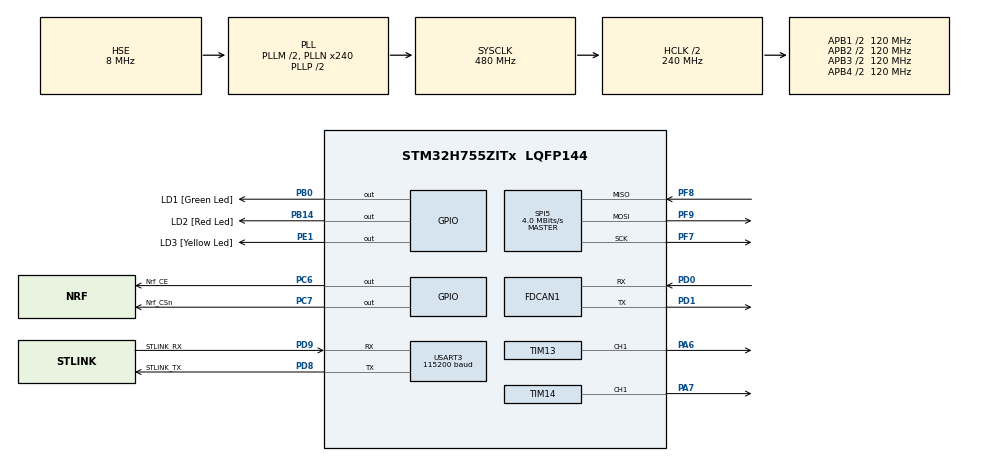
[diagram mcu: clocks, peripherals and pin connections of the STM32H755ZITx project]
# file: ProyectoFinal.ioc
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CortexM4.IPs=BDMA,CORTEX_M4\:I,DEBUG,DMA,FATFS_M4\:I,FREERTOS_M4\:I,GPIO,IWDG2\:I,MDMA,NVIC2\:I,OPENAMP_M4\:I,PDM2PCM_M4\:I,PWR,RCC,RESMGR_UTILITY,SYS_M4\:I,USB_DEVICE_M4\:I,USB_HOST_M4\:I,VREFBUF,WWDG2\:I
CortexM4.Pins=PE1
CortexM7.IPs=BDMA\:I,CORTEX_M7\:I,DEBUG\:I,DMA\:I,FATFS_M7\:I,FREERTOS_M7\:I,GPIO\:I,IWDG1\:I,MDMA\:I,NVIC1\:I,OPENAMP_M7\:I,PDM2PCM_M7\:I,PWR\:I,RCC\:I,RESMGR_UTILITY\:I,SYS\:I,USB_DEVICE_M7\:I,USB_HOST_M7\:I,VREFBUF\:I,WWDG1\:I,USART3\:I,TIM14\:I,TIM13\:I,TIM15\:I,SPI5\:I,FDCAN1\:I
CortexM7.Pins=PB0,PB14,PC6,PC7
FDCAN1.CalculateBaudRateNominal=500000
FDCAN1.CalculateTimeBitNominal=2000
FDCAN1.CalculateTimeQuantumNominal=50.0
FDCAN1.NominalPrescaler=2
FDCAN1.NominalSyncJumpWidth=8
FDCAN1.NominalTimeSeg1=0x1F
FDCAN1.NominalTimeSeg2=8
FDCAN1.ProtocolException=ENABLE
FDCAN1.RxFifo0ElmtsNbr=1
FDCAN1.StdFiltersNbr=1
FDCAN1.TxFifoQueueElmtsNbr=1
Mcu.Family=STM32H7
Mcu.Name=STM32H755ZITx
Mcu.Package=LQFP144
NVIC1.PriorityGroup=NVIC_PRIORITYGROUP_4
NVIC1.TIM15_IRQn=true\:0\:0\:false\:false\:true\:true\:true\:true
NVIC2.PriorityGroup=NVIC_PRIORITYGROUP_4
PA13\ (JTMS/SWDIO).GPIO_Label=DEBUG_SWDIO
PA13\ (JTMS/SWDIO).Mode=Serial_Wire
PA13\ (JTMS/SWDIO).PinAttribute=CortexM7
PA13\ (JTMS/SWDIO).Signal=DEBUG_JTMS-SWDIO
PA14\ (JTCK/SWCLK).GPIO_Label=DEBUG_SWCLK
PA14\ (JTCK/SWCLK).Mode=Serial_Wire
PA14\ (JTCK/SWCLK).PinAttribute=CortexM7
PA14\ (JTCK/SWCLK).Signal=DEBUG_JTCK-SWCLK
PA6.PinAttribute=CortexM7
PA6.Signal=S_TIM13_CH1
PA7.PinAttribute=CortexM7
PA7.Signal=S_TIM14_CH1
PB0.GPIO_Label=LD1 [Green Led]
PB0.PinAttribute=CortexM7
PB0.Signal=GPIO_Output
PB14.GPIO_Label=LD2 [Red Led]
PB14.PinAttribute=CortexM7
PB14.Signal=GPIO_Output
PC14-OSC32_IN\ (OSC32_IN).Mode=LSE-External-Oscillator
PC14-OSC32_IN\ (OSC32_IN).PinAttribute=CortexM7
PC14-OSC32_IN\ (OSC32_IN).Signal=RCC_OSC32_IN
PC15-OSC32_OUT\ (OSC32_OUT).Mode=LSE-External-Oscillator
PC15-OSC32_OUT\ (OSC32_OUT).PinAttribute=CortexM7
PC15-OSC32_OUT\ (OSC32_OUT).Signal=RCC_OSC32_OUT
PC6.GPIO_Label=Nrf_CE
PC6.PinAttribute=CortexM7
PC6.Signal=GPIO_Output
PC7.GPIO_Label=Nrf_CSn
PC7.PinAttribute=CortexM7
PC7.Signal=GPIO_Output
PD0.GPIO_PuPd=GPIO_NOPULL
PD0.GPIO_Speed=GPIO_SPEED_FREQ_VERY_HIGH
PD0.Mode=FDCAN_Activate
PD0.PinAttribute=CortexM7
PD0.Signal=FDCAN1_RX
PD1.GPIO_PuPd=GPIO_PULLUP
PD1.GPIO_Speed=GPIO_SPEED_FREQ_VERY_HIGH
PD1.Mode=FDCAN_Activate
PD1.PinAttribute=CortexM7
PD1.Signal=FDCAN1_TX
PD8.GPIO_Label=STLINK_TX
PD8.Mode=Asynchronous
PD8.PinAttribute=CortexM7
PD8.Signal=USART3_TX
PD9.GPIO_Label=STLINK_RX
PD9.Mode=Asynchronous
PD9.PinAttribute=CortexM7
PD9.Signal=USART3_RX
PE1.GPIO_Label=LD3 [Yellow Led]
PE1.PinAttribute=CortexM4
PE1.Signal=GPIO_Output
PF7.Mode=Full_Duplex_Master
PF7.PinAttribute=CortexM7
PF7.Signal=SPI5_SCK
PF8.Mode=Full_Duplex_Master
PF8.PinAttribute=CortexM7
PF8.Signal=SPI5_MISO
PF9.Mode=Full_Duplex_Master
PF9.PinAttribute=CortexM7
PF9.Signal=SPI5_MOSI
PH0-OSC_IN\ (PH0).Mode=HSE-External-Clock-Source
PH0-OSC_IN\ (PH0).PinAttribute=CortexM7
PH0-OSC_IN\ (PH0).Signal=RCC_OSC_IN
ProjectManager.HeapSize=M4-0x200,M7-0x200
ProjectManager.StackSize=M4-0x400,M7-0x400
ProjectManager.TargetToolchain=STM32CubeIDE
RCC.ADCFreq_Value=16125000
RCC.APB1Freq_Value=120000000
RCC.APB2Freq_Value=120000000
RCC.APB3Freq_Value=120000000
RCC.APB4Freq_Value=120000000
RCC.CortexFreq_Value=480000000
RCC.D1PPRE=RCC_APB3_DIV2
RCC.D2PPRE1=RCC_APB1_DIV2
RCC.D2PPRE2=RCC_APB2_DIV2
RCC.D3PPRE=RCC_APB4_DIV2
RCC.DIVM1=2
RCC.DIVN1=240
RCC.DIVQ1=24
RCC.HCLKFreq_Value=240000000
RCC.HPRE=RCC_HCLK_DIV2
RCC.HSE_VALUE=8000000
RCC.PLLSourceVirtual=RCC_PLLSOURCE_HSE
RCC.SYSCLKFreq_VALUE=480000000
RCC.SYSCLKSource=RCC_SYSCLKSOURCE_PLLCLK
RCC.Spi45ClockSelection=RCC_SPI45CLKSOURCE_HSI
RCC.USBFreq_Value=40000000
SH.S_TIM13_CH1.0=TIM13_CH1,PWM Generation1 CH1
SH.S_TIM14_CH1.0=TIM14_CH1,PWM Generation1 CH1
SPI5.BaudRatePrescaler=SPI_BAUDRATEPRESCALER_16
SPI5.CalculateBaudRate=4.0 MBits/s
SPI5.DataSize=SPI_DATASIZE_8BIT
SPI5.Direction=SPI_DIRECTION_2LINES
SPI5.Mode=SPI_MODE_MASTER
SPI5.VirtualType=VM_MASTER
SYS.userName=SYS_M7
TIM13.AutoReloadPreload=TIM_AUTORELOAD_PRELOAD_ENABLE
TIM13.Channel=TIM_CHANNEL_1
TIM13.Period=19999
TIM13.Prescaler=239
TIM13.Pulse=1500
TIM14.AutoReloadPreload=TIM_AUTORELOAD_PRELOAD_DISABLE
TIM14.Channel=TIM_CHANNEL_1
TIM14.Period=19999
TIM14.Prescaler=239
TIM14.Pulse=1500
TIM15.Period=9999
TIM15.Prescaler=23
USART3.BaudRate=115200
USART3.VirtualMode-Asynchronous=VM_ASYNC
VP_SYS_M4_VS_Systick.Mode=SysTick
VP_TIM13_VS_ClockSourceINT.Mode=Enable_Timer
VP_TIM14_VS_ClockSourceINT.Mode=Enable_Timer
VP_TIM15_VS_ClockSourceINT.Mode=Internal
board=custom

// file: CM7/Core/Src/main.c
/* USER CODE BEGIN Header */
/**
  ******************************************************************************
  * @file           : main.c
  * @brief          : Main program body for CM7
  * @author			: Alejandro Rodriguez del Bosque
  ******************************************************************************
  * @attention
  *
  * Copyright (c) 2024 STMicroelectronics.
  * All rights reserved.
  *
  * This software is licensed under terms that can be found in the LICENSE file
  * in the root directory of this software component.
  * If no LICENSE file comes with this software, it is provided AS-IS.
  *
  ******************************************************************************
  */
/* USER CODE END Header */
#include "main.h"

/* USER CODE BEGIN Includes */
#include <stdio.h>
#include "myprintf.h"
#include <string.h>
#include "MY_NRF24.h"
#include "MotorController.h"
/* USER CODE END Includes */

/* USER CODE BEGIN PD */

#ifndef HSEM_ID_0
#define HSEM_ID_0 (0U) /* HW semaphore 0*/
#endif
/* USER CODE END PD */

FDCAN_HandleTypeDef hfdcan1;

SPI_HandleTypeDef hspi5;

TIM_HandleTypeDef htim13;
TIM_HandleTypeDef htim14;
TIM_HandleTypeDef htim15;

UART_HandleTypeDef huart3;

/* USER CODE BEGIN PV */
// CAN
FDCAN_FilterTypeDef sFilterConfig;
FDCAN_TxHeaderTypeDef TxHeader;
FDCAN_RxHeaderTypeDef RxHeader;
uint8_t TxDataCAN[8] = {0};
uint8_t RxDataCAN[8];
uint8_t buzzer = 0; // Estado del buzzer

/* USER CODE END PV */

void SystemClock_Config(void);
static void MX_GPIO_Init(void);
static void MX_USART3_UART_Init(void);
static void MX_TIM14_Init(void);
static void MX_TIM13_Init(void);
static void MX_TIM15_Init(void);
static void MX_SPI5_Init(void);
static void MX_FDCAN1_Init(void);
/* USER CODE BEGIN PFP */
static void MotorSetSpeed(float);
static void Turning_SetAngle(float);

// Configuración y manejo del protocolo CAN
void ProcessCANMessage(void);
void SendCANMessage(void);

/* USER CODE END PFP */

/* USER CODE BEGIN 0 */
uint64_t RxpipeAddrs = 0x11223344AALL;
char myRxData[50];
uint8_t buffer[6];
uint16_t varX, varY, varD;
char myAckPayload[32] = "Ack by STMF7!";
float setpoint=0.5f;
float rotation;
float accel_IMU;
float accel_ENC;

enum CurrentState {
	GoingTo60,
	Turning,
	HeadingBack,
	Finished
};
void avanzar(){
	__HAL_TIM_SET_COMPARE(&htim14,TIM_CHANNEL_1,(uint32_t)(19999 * 0.05));
	printf("Avanzando");
}

void ProcessCANMessage() {
    if (HAL_FDCAN_GetRxMessage(&hfdcan1, FDCAN_RX_FIFO0, &RxHeader, RxDataCAN) == HAL_OK) {
        printf("\n\rSTM32 - Mensaje CAN recibido:\n\r");
        printf("ID: 0x%lx, Longitud: %ld bytes\n\r", RxHeader.Identifier, RxHeader.DataLength >> 16);
        printf("Datos: ");

        if (RxHeader.Identifier == 0x100) {
            printf("\n\rMensaje recibido de Arduino: ");
        }
        for (uint8_t i = 0; i < 8; i++) {
            printf("%02X ", RxDataCAN[i]);
        }

        if (RxDataCAN[0]==0x01){
        	buzzer = 1;
        }else{
        	buzzer = 0;
        }

        printf("\n\rSTM32 - Mensaje recibido correctamente.\n\r");

        HAL_GPIO_TogglePin(LD1_GPIO_Port, LD1_Pin); // Indicar recepción
    } else {
        printf("Esperando mensajes CAN...\n\r");
    }
}

void SendCANMessage(){}

/* USER CODE END 0 */

int main(void)
{
  /* USER CODE BEGIN 1 */
	printf("Entered main");
  /* USER CODE END 1 */
/* USER CODE BEGIN Boot_Mode_Sequence_0 */
  int32_t timeout;
/* USER CODE END Boot_Mode_Sequence_0 */

/* USER CODE BEGIN Boot_Mode_Sequence_1 */
  /* Wait until CPU2 boots and enters in stop mode or timeout*/
  timeout = 0xFFFF;
  while((__HAL_RCC_GET_FLAG(RCC_FLAG_D2CKRDY) != RESET) && (timeout-- > 0));
  if ( timeout < 0 )
  {
  Error_Handler();
  }
/* USER CODE END Boot_Mode_Sequence_1 */
  /* MCU Configuration--------------------------------------------------------*/

  /* Reset of all peripherals, Initializes the Flash interface and the Systick. */
  HAL_Init();

  /* Configure the system clock */
  SystemClock_Config();
/* USER CODE BEGIN Boot_Mode_Sequence_2 */
/* When system initialization is finished, Cortex-M7 will release Cortex-M4 by means of
HSEM notification */
/*HW semaphore Clock enable*/
__HAL_RCC_HSEM_CLK_ENABLE();
/*Take HSEM */
HAL_HSEM_FastTake(HSEM_ID_0);
/*Release HSEM in order to notify the CPU2(CM4)*/
HAL_HSEM_Release(HSEM_ID_0,0);
/* wait until CPU2 wakes up from stop mode */
timeout = 0xFFFF;
while((__HAL_RCC_GET_FLAG(RCC_FLAG_D2CKRDY) == RESET) && (timeout-- > 0));
if ( timeout < 0 )
{
Error_Handler();
}
/* USER CODE END Boot_Mode_Sequence_2 */

  /* Initialize all configured peripherals */
  MX_GPIO_Init();
  MX_USART3_UART_Init();
  MX_TIM14_Init();
  MX_TIM13_Init();
  MX_TIM15_Init();
  MX_SPI5_Init();
  MX_FDCAN1_Init();
  /* USER CODE BEGIN 2 */
  enum CurrentState state = GoingTo60;
  NRF24_begin(GPIOC, Nrf_CSn_Pin, Nrf_CE_Pin, hspi5);
    nrf24_DebugUART_Init(huart3);
    NRF24_openReadingPipe(1, RxpipeAddrs);
    NRF24_setAutoAck(false);
    NRF24_setChannel(52);
    NRF24_setPayloadSize(32);
    NRF24_setDataRate(RF24_2MBPS);

    NRF24_enableDynamicPayloads();
    NRF24_enableAckPayload();
    printRadioSettings();
    NRF24_startListening();
    printf("Starting NRF24\r\n");
    HAL_Delay(1000);
  /* USER CODE END 2 */

  /* Infinite loop */
  /* USER CODE BEGIN WHILE */
    HAL_TIM_PWM_Start(&htim13, TIM_CHANNEL_1);
    HAL_TIM_PWM_Start(&htim14, TIM_CHANNEL_1);
  while (1)
  {
	  //ProcessCANMessage();
	 	  char myRxData[50] = "";

	       // Verifica si hay datos disponibles desde el módulo NRF
	       if (NRF24_available()) {
	           NRF24_read(buffer, 6);  // Lee 6 bytes del buffer
	           parseMessage(buffer, &varX, &varY, &varD);  // Parsea mensaje para obtener varX, varY, varD

	           if (buffer[0] == 0xFF && buffer[1] == 0xFF) {
	               snprintf(myRxData, 32, "Coordinates not found\r\n");
	           } else {
	               snprintf(myRxData, 32, "%u %u %u \r\n", varX, varY, varD);

	               // Controla el duty cycle del motor en función de varY
	           }

	           // Envía una carga útil de respuesta al módulo NRF
	           NRF24_writeAckPayload(1, myAckPayload, 32);

	           // Transmite los datos recibidos a través de UART
	           HAL_UART_Transmit(&huart3, (uint8_t *)myRxData, strlen(myRxData), 10);
	       }

      if(state == GoingTo60){
    	  printf("GoingTo60");
    	  Turning_SetAngle(0);
    	  MotorSetSpeed(0.5f);
    	  if(varX > 60){
    		  state = Turning;
    	  }
      }
      else if(state == Turning){
    	  printf("Turning");
    	  Turning_SetAngle(45.0f);
    	  MotorSetSpeed(0.5f);
    	  if(varD <= 180){
    		  state = HeadingBack;
    	  }
      }
      else if(state == HeadingBack){
    	  printf("HeadingBack");
    	  Turning_SetAngle(0);
    	  MotorSetSpeed(0.5);
    	  if(varX < 10){
    		  state = Finished;
    	  }
      }
      else if(state == Finished){
    	  MotorSetSpeed(0.0f);
    	  printf("CONCLUDED");
      }
//      for (float angle = -90.0f; angle <= 90.0f; angle += 1.0f) {
//          Turning_SetAngle(angle);
//          HAL_Delay(20);  // 20ms delay for smooth motion
//      }
//      // Sweep from 90 to -90 degrees
//      for (float angle = 90.0f; angle >= -90.0f; angle -= 1.0f) {
//          Turning_SetAngle(angle);
//          HAL_Delay(20);  // 20ms delay for smooth motion
//      }
    /* USER CODE END WHILE */

  }
}

void SystemClock_Config(void)
{
  RCC_OscInitTypeDef RCC_OscInitStruct = {0};
  RCC_ClkInitTypeDef RCC_ClkInitStruct = {0};

  /** Supply configuration update enable
  */
  HAL_PWREx_ConfigSupply(PWR_DIRECT_SMPS_SUPPLY);

  /** Configure the main internal regulator output voltage
  */
  __HAL_PWR_VOLTAGESCALING_CONFIG(PWR_REGULATOR_VOLTAGE_SCALE0);

  while(!__HAL_PWR_GET_FLAG(PWR_FLAG_VOSRDY)) {}

  /** Initializes the RCC Oscillators according to the specified parameters
  * in the RCC_OscInitTypeDef structure.
  */
  RCC_OscInitStruct.OscillatorType = RCC_OSCILLATORTYPE_HSI|RCC_OSCILLATORTYPE_HSE;
  RCC_OscInitStruct.HSEState = RCC_HSE_BYPASS;
  RCC_OscInitStruct.HSIState = RCC_HSI_DIV1;
  RCC_OscInitStruct.HSICalibrationValue = RCC_HSICALIBRATION_DEFAULT;
  RCC_OscInitStruct.PLL.PLLState = RCC_PLL_ON;
  RCC_OscInitStruct.PLL.PLLSource = RCC_PLLSOURCE_HSE;
  RCC_OscInitStruct.PLL.PLLM = 2;
  RCC_OscInitStruct.PLL.PLLN = 240;
  RCC_OscInitStruct.PLL.PLLP = 2;
  RCC_OscInitStruct.PLL.PLLQ = 24;
  RCC_OscInitStruct.PLL.PLLR = 2;
  RCC_OscInitStruct.PLL.PLLRGE = RCC_PLL1VCIRANGE_2;
  RCC_OscInitStruct.PLL.PLLVCOSEL = RCC_PLL1VCOWIDE;
  RCC_OscInitStruct.PLL.PLLFRACN = 0;
  if (HAL_RCC_OscConfig(&RCC_OscInitStruct) != HAL_OK)
  {
    Error_Handler();
  }

  /** Initializes the CPU, AHB and APB buses clocks
  */
  RCC_ClkInitStruct.ClockType = RCC_CLOCKTYPE_HCLK|RCC_CLOCKTYPE_SYSCLK
                              |RCC_CLOCKTYPE_PCLK1|RCC_CLOCKTYPE_PCLK2
                              |RCC_CLOCKTYPE_D3PCLK1|RCC_CLOCKTYPE_D1PCLK1;
  RCC_ClkInitStruct.SYSCLKSource = RCC_SYSCLKSOURCE_PLLCLK;
  RCC_ClkInitStruct.SYSCLKDivider = RCC_SYSCLK_DIV1;
  RCC_ClkInitStruct.AHBCLKDivider = RCC_HCLK_DIV2;
  RCC_ClkInitStruct.APB3CLKDivider = RCC_APB3_DIV2;
  RCC_ClkInitStruct.APB1CLKDivider = RCC_APB1_DIV2;
  RCC_ClkInitStruct.APB2CLKDivider = RCC_APB2_DIV2;
  RCC_ClkInitStruct.APB4CLKDivider = RCC_APB4_DIV2;

  if (HAL_RCC_ClockConfig(&RCC_ClkInitStruct, FLASH_LATENCY_4) != HAL_OK)
  {
    Error_Handler();
  }
}

static void MX_FDCAN1_Init(void)
{

  hfdcan1.Instance = FDCAN1;
  hfdcan1.Init.FrameFormat = FDCAN_FRAME_CLASSIC;
  hfdcan1.Init.Mode = FDCAN_MODE_NORMAL;
  hfdcan1.Init.AutoRetransmission = DISABLE;
  hfdcan1.Init.TransmitPause = DISABLE;
  hfdcan1.Init.ProtocolException = ENABLE;
  hfdcan1.Init.NominalPrescaler = 2;
  hfdcan1.Init.NominalSyncJumpWidth = 8;
  hfdcan1.Init.NominalTimeSeg1 = 0x1F;
  hfdcan1.Init.NominalTimeSeg2 = 8;
  hfdcan1.Init.DataPrescaler = 1;
  hfdcan1.Init.DataSyncJumpWidth = 1;
  hfdcan1.Init.DataTimeSeg1 = 1;
  hfdcan1.Init.DataTimeSeg2 = 1;
  hfdcan1.Init.MessageRAMOffset = 0;
  hfdcan1.Init.StdFiltersNbr = 1;
  hfdcan1.Init.ExtFiltersNbr = 0;
  hfdcan1.Init.RxFifo0ElmtsNbr = 1;
  hfdcan1.Init.RxFifo0ElmtSize = FDCAN_DATA_BYTES_8;
  hfdcan1.Init.RxFifo1ElmtsNbr = 0;
  hfdcan1.Init.RxFifo1ElmtSize = FDCAN_DATA_BYTES_8;
  hfdcan1.Init.RxBuffersNbr = 0;
  hfdcan1.Init.RxBufferSize = FDCAN_DATA_BYTES_8;
  hfdcan1.Init.TxEventsNbr = 0;
  hfdcan1.Init.TxBuffersNbr = 0;
  hfdcan1.Init.TxFifoQueueElmtsNbr = 1;
  hfdcan1.Init.TxFifoQueueMode = FDCAN_TX_FIFO_OPERATION;
  hfdcan1.Init.TxElmtSize = FDCAN_DATA_BYTES_8;
  if (HAL_FDCAN_Init(&hfdcan1) != HAL_OK)
  {
    Error_Handler();
  }
  /* USER CODE BEGIN FDCAN1_Init 2 */
      /* Configure Rx filter */
       sFilterConfig.IdType = FDCAN_STANDARD_ID;
       sFilterConfig.FilterIndex = 0;
       sFilterConfig.FilterType = FDCAN_FILTER_MASK;
       sFilterConfig.FilterConfig = FDCAN_FILTER_TO_RXFIFO0;
       sFilterConfig.FilterID1 = 0x000;
       sFilterConfig.FilterID2 = 0x000;
       //sFilterConfig.FilterID1 = 0x617;
       //sFilterConfig.FilterID2 = 0x7FF;

       /* Configure global filter to reject all non-matching frames */
       HAL_FDCAN_ConfigGlobalFilter(&hfdcan1, FDCAN_REJECT, FDCAN_REJECT, FDCAN_REJECT_REMOTE, FDCAN_REJECT_REMOTE);

       if (HAL_FDCAN_ConfigFilter(&hfdcan1, &sFilterConfig) != HAL_OK)
         {
            /* Filter configuration Error */
            Error_Handler();
         }

        /* Start the FDCAN module */
       if (HAL_FDCAN_Start(&hfdcan1) != HAL_OK)
            /* Start Error */

       if (HAL_FDCAN_ActivateNotification(&hfdcan1, FDCAN_IT_RX_FIFO0_NEW_MESSAGE, 0) != HAL_OK)
            /* Notification Error */

        /* Configure Tx buffer message */
       TxHeader.Identifier = 0x111;
       TxHeader.IdType = FDCAN_STANDARD_ID;
       TxHeader.TxFrameType = FDCAN_DATA_FRAME;
       TxHeader.DataLength = FDCAN_DLC_BYTES_12;
       TxHeader.ErrorStateIndicator = FDCAN_ESI_ACTIVE;
       TxHeader.BitRateSwitch = FDCAN_BRS_ON;
       TxHeader.FDFormat = FDCAN_FD_CAN;
       TxHeader.TxEventFifoControl = FDCAN_NO_TX_EVENTS;
       TxHeader.MessageMarker = 0x00;
  /* USER CODE END FDCAN1_Init 2 */

}

static void MX_SPI5_Init(void)
{

  /* SPI5 parameter configuration*/
  hspi5.Instance = SPI5;
  hspi5.Init.Mode = SPI_MODE_MASTER;
  hspi5.Init.Direction = SPI_DIRECTION_2LINES;
  hspi5.Init.DataSize = SPI_DATASIZE_8BIT;
  hspi5.Init.CLKPolarity = SPI_POLARITY_LOW;
  hspi5.Init.CLKPhase = SPI_PHASE_1EDGE;
  hspi5.Init.NSS = SPI_NSS_SOFT;
  hspi5.Init.BaudRatePrescaler = SPI_BAUDRATEPRESCALER_16;
  hspi5.Init.FirstBit = SPI_FIRSTBIT_MSB;
  hspi5.Init.TIMode = SPI_TIMODE_DISABLE;
  hspi5.Init.CRCCalculation = SPI_CRCCALCULATION_DISABLE;
  hspi5.Init.CRCPolynomial = 0x0;
  hspi5.Init.NSSPMode = SPI_NSS_PULSE_ENABLE;
  hspi5.Init.NSSPolarity = SPI_NSS_POLARITY_LOW;
  hspi5.Init.FifoThreshold = SPI_FIFO_THRESHOLD_01DATA;
  hspi5.Init.TxCRCInitializationPattern = SPI_CRC_INITIALIZATION_ALL_ZERO_PATTERN;
  hspi5.Init.RxCRCInitializationPattern = SPI_CRC_INITIALIZATION_ALL_ZERO_PATTERN;
  hspi5.Init.MasterSSIdleness = SPI_MASTER_SS_IDLENESS_00CYCLE;
  hspi5.Init.MasterInterDataIdleness = SPI_MASTER_INTERDATA_IDLENESS_00CYCLE;
  hspi5.Init.MasterReceiverAutoSusp = SPI_MASTER_RX_AUTOSUSP_DISABLE;
  hspi5.Init.MasterKeepIOState = SPI_MASTER_KEEP_IO_STATE_DISABLE;
  hspi5.Init.IOSwap = SPI_IO_SWAP_DISABLE;
  if (HAL_SPI_Init(&hspi5) != HAL_OK)
  {
    Error_Handler();
  }

}

static void MX_TIM13_Init(void)
{

  TIM_OC_InitTypeDef sConfigOC = {0};

  htim13.Instance = TIM13;
  htim13.Init.Prescaler = 239;
  htim13.Init.CounterMode = TIM_COUNTERMODE_UP;
  htim13.Init.Period = 19999;
  htim13.Init.ClockDivision = TIM_CLOCKDIVISION_DIV1;
  htim13.Init.AutoReloadPreload = TIM_AUTORELOAD_PRELOAD_ENABLE;
  if (HAL_TIM_Base_Init(&htim13) != HAL_OK)
  {
    Error_Handler();
  }
  if (HAL_TIM_PWM_Init(&htim13) != HAL_OK)
  {
    Error_Handler();
  }
  sConfigOC.OCMode = TIM_OCMODE_PWM1;
  sConfigOC.Pulse = 1500;
  sConfigOC.OCPolarity = TIM_OCPOLARITY_HIGH;
  sConfigOC.OCFastMode = TIM_OCFAST_DISABLE;
  if (HAL_TIM_PWM_ConfigChannel(&htim13, &sConfigOC, TIM_CHANNEL_1) != HAL_OK)
  {
    Error_Handler();
  }
  HAL_TIM_MspPostInit(&htim13);

}

static void MX_TIM14_Init(void)
{

  TIM_OC_InitTypeDef sConfigOC = {0};

  htim14.Instance = TIM14;
  htim14.Init.Prescaler = 239;
  htim14.Init.CounterMode = TIM_COUNTERMODE_UP;
  htim14.Init.Period = 19999;
  htim14.Init.ClockDivision = TIM_CLOCKDIVISION_DIV1;
  htim14.Init.AutoReloadPreload = TIM_AUTORELOAD_PRELOAD_DISABLE;
  if (HAL_TIM_Base_Init(&htim14) != HAL_OK)
  {
    Error_Handler();
  }
  if (HAL_TIM_PWM_Init(&htim14) != HAL_OK)
  {
    Error_Handler();
  }
  sConfigOC.OCMode = TIM_OCMODE_PWM1;
  sConfigOC.Pulse = 1500;
  sConfigOC.OCPolarity = TIM_OCPOLARITY_HIGH;
  sConfigOC.OCFastMode = TIM_OCFAST_DISABLE;
  if (HAL_TIM_PWM_ConfigChannel(&htim14, &sConfigOC, TIM_CHANNEL_1) != HAL_OK)
  {
    Error_Handler();
  }
  HAL_TIM_MspPostInit(&htim14);

}

static void MX_TIM15_Init(void)
{

  TIM_ClockConfigTypeDef sClockSourceConfig = {0};
  TIM_MasterConfigTypeDef sMasterConfig = {0};

  htim15.Instance = TIM15;
  htim15.Init.Prescaler = 23;
  htim15.Init.CounterMode = TIM_COUNTERMODE_UP;
  htim15.Init.Period = 9999;
  htim15.Init.ClockDivision = TIM_CLOCKDIVISION_DIV1;
  htim15.Init.RepetitionCounter = 0;
  htim15.Init.AutoReloadPreload = TIM_AUTORELOAD_PRELOAD_DISABLE;
  if (HAL_TIM_Base_Init(&htim15) != HAL_OK)
  {
    Error_Handler();
  }
  sClockSourceConfig.ClockSource = TIM_CLOCKSOURCE_INTERNAL;
  if (HAL_TIM_ConfigClockSource(&htim15, &sClockSourceConfig) != HAL_OK)
  {
    Error_Handler();
  }
  sMasterConfig.MasterOutputTrigger = TIM_TRGO_RESET;
  sMasterConfig.MasterSlaveMode = TIM_MASTERSLAVEMODE_DISABLE;
  if (HAL_TIMEx_MasterConfigSynchronization(&htim15, &sMasterConfig) != HAL_OK)
  {
    Error_Handler();
  }

}

static void MX_USART3_UART_Init(void)
{

  huart3.Instance = USART3;
  huart3.Init.BaudRate = 115200;
  huart3.Init.WordLength = UART_WORDLENGTH_8B;
  huart3.Init.StopBits = UART_STOPBITS_1;
  huart3.Init.Parity = UART_PARITY_NONE;
  huart3.Init.Mode = UART_MODE_TX_RX;
  huart3.Init.HwFlowCtl = UART_HWCONTROL_NONE;
  huart3.Init.OverSampling = UART_OVERSAMPLING_16;
  huart3.Init.OneBitSampling = UART_ONE_BIT_SAMPLE_DISABLE;
  huart3.Init.ClockPrescaler = UART_PRESCALER_DIV1;
  huart3.AdvancedInit.AdvFeatureInit = UART_ADVFEATURE_NO_INIT;
  if (HAL_UART_Init(&huart3) != HAL_OK)
  {
    Error_Handler();
  }
  if (HAL_UARTEx_SetTxFifoThreshold(&huart3, UART_TXFIFO_THRESHOLD_1_8) != HAL_OK)
  {
    Error_Handler();
  }
  if (HAL_UARTEx_SetRxFifoThreshold(&huart3, UART_RXFIFO_THRESHOLD_1_8) != HAL_OK)
  {
    Error_Handler();
  }
  if (HAL_UARTEx_DisableFifoMode(&huart3) != HAL_OK)
  {
    Error_Handler();
  }

}

static void MX_GPIO_Init(void)
{
  GPIO_InitTypeDef GPIO_InitStruct = {0};

  /* GPIO Ports Clock Enable */
  __HAL_RCC_GPIOC_CLK_ENABLE();
  __HAL_RCC_GPIOF_CLK_ENABLE();
  __HAL_RCC_GPIOH_CLK_ENABLE();
  __HAL_RCC_GPIOA_CLK_ENABLE();
  __HAL_RCC_GPIOB_CLK_ENABLE();
  __HAL_RCC_GPIOD_CLK_ENABLE();

  /*Configure GPIO pin Output Level */
  HAL_GPIO_WritePin(GPIOB, LD1_Pin|LD2_Pin, GPIO_PIN_RESET);

  /*Configure GPIO pin Output Level */
  HAL_GPIO_WritePin(GPIOC, Nrf_CE_Pin|Nrf_CSn_Pin, GPIO_PIN_RESET);

  /*Configure GPIO pins : LD1_Pin LD2_Pin */
  GPIO_InitStruct.Pin = LD1_Pin|LD2_Pin;
  GPIO_InitStruct.Mode = GPIO_MODE_OUTPUT_PP;
  GPIO_InitStruct.Pull = GPIO_NOPULL;
  GPIO_InitStruct.Speed = GPIO_SPEED_FREQ_LOW;
  HAL_GPIO_Init(GPIOB, &GPIO_InitStruct);

  /*Configure GPIO pins : Nrf_CE_Pin Nrf_CSn_Pin */
  GPIO_InitStruct.Pin = Nrf_CE_Pin|Nrf_CSn_Pin;
  GPIO_InitStruct.Mode = GPIO_MODE_OUTPUT_PP;
  GPIO_InitStruct.Pull = GPIO_NOPULL;
  GPIO_InitStruct.Speed = GPIO_SPEED_FREQ_LOW;
  HAL_GPIO_Init(GPIOC, &GPIO_InitStruct);

}

/* USER CODE BEGIN 4 */
void parseMessage(uint8_t *buffer, uint16_t *var1, uint16_t *var2, uint16_t *var3) {
    if (buffer == NULL || var1 == NULL || var2 == NULL || var3 == NULL) {
        return;  // Ensure valid pointers
    }

    *var1 = (buffer[0] << 8) | buffer[1];
    *var2 = (buffer[2] << 8) | buffer[3];
    *var3 = (buffer[4] << 8) | buffer[5];
}

void Turning_SetAngle(float angle) {
    // Ensure the angle is within the valid range
    if (angle < -90.0f) angle = -90.0f;
    if (angle > 90.0f) angle = 90.0f;

    // Map angle (-90 to 90) to pulse width (1 to 2 ms)
    float pulseWidth = 1.5f + (angle / 180.0f);

    // Get the autoreload register value
    uint32_t autoreload_register_value = __HAL_TIM_GET_AUTORELOAD(&htim13);

    // Calculate the compare register value
    uint32_t value = (uint32_t)((pulseWidth / 20.0f) * (autoreload_register_value + 1));

    // Set the compare register value
    __HAL_TIM_SET_COMPARE(&htim13, TIM_CHANNEL_1, value);

    // Ensure the PWM peripheral is started
    HAL_TIM_PWM_Start(&htim13, TIM_CHANNEL_1);
}
void MotorSetSpeed(float speed) {
    // Ensure the speed is within the valid range [0.0, 1.0]
    if (speed < -1.0f) speed = -1.0f;
    if (speed > 1.0f) speed = 1.0f;
    // Calculate the CCR1 value with inverted mapping for forward/backward
    TIM14->CCR1 = (uint32_t)((19999 * 0.075) - (19999 * 0.025 * speed));
}
/* USER CODE END 4 */

void Error_Handler(void)
{
  __disable_irq();
  while (1)
  {
  }
}
